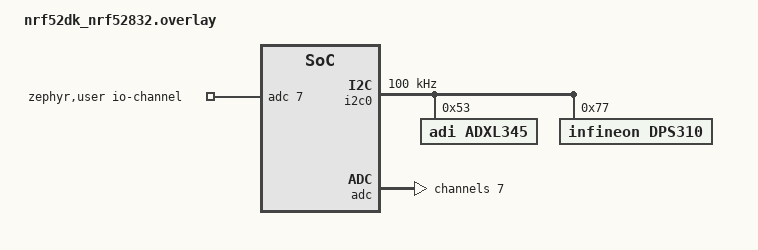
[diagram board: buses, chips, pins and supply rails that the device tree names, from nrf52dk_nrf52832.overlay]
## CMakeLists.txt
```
cmake_minimum_required(VERSION 3.20.0)
find_package(Zephyr REQUIRED HINTS $ENV{ZEPHYR_BASE})

project(uchaos)

# set(fogml_sources 
#     ../src/fogml_sdk/anomaly/fogml_anomaly.c
#     ../src/fogml_sdk/anomaly_rt/fogml_lof.c
#     ../src/fogml_sdk/anomaly_rt/fogml_reservoir.c
#     ../src/fogml_sdk/ports/fogml_ports_zephyr.c
#     ../src/fogml_sdk/dsp/fogml_dsp.c
#     ../src/fogml_sdk/scaler/fogml_scaler.c
# )

# set (fogml_generated
#     ../src/fogml_generated/kmeans_anomaly_model.c
#     ../src/fogml_generated/min_max_scaler_model.c
#     ../src/fogml_generated/random_forrest_model.c
# )

set (uchaos
    src/uchaos/uchaos_battery/uchaos_battery.c
    src/uchaos/uchaos_console/uchaos_console.c
    src/uchaos/uchaos_sensor/uchaos_sensor.c
    src/uchaos/uchaos_cpu/uchaos_cpu.c
)

FILE(GLOB app_sources 
    src/*.c
    src/inc/*.h
)

target_sources(app PRIVATE ${app_sources} ${uchaos})
```

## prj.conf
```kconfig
CONFIG_GPIO=y
CONFIG_SERIAL=y
CONFIG_I2C=y

CONFIG_CBPRINTF_FP_SUPPORT=y

CONFIG_ENTROPY_GENERATOR=y
CONFIG_TEST_RANDOM_GENERATOR=y

CONFIG_UART_INTERRUPT_DRIVEN=y
CONFIG_HEAP_MEM_POOL_SIZE=1024

CONFIG_THREAD_LOCAL_STORAGE=y

#Sensor
CONFIG_SENSOR=y

#ADC
CONFIG_ADC=y
```

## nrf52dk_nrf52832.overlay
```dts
// To get started, press Ctrl+Space to bring up the completion menu and view the available nodes.

// You can also use the buttons in the sidebar to perform actions on nodes.
// Actions currently available include:

// * Enabling / disabling the node
// * Adding the bus to a bus
// * Removing the node
// * Connecting ADC channels

// For more help, browse the DeviceTree documentation at https://docs.zephyrproject.org/latest/guides/dts/index.html
// You can also visit the nRF DeviceTree extension documentation at https://nrfconnect.github.io/vscode-nrf-connect/devicetree/nrfdevicetree.html

/ {
	zephyr,user {
		io-channels = <&adc 7>;
	};
};

&i2c0 {
	compatible = "nordic,nrf-twi";
	status = "okay";
	clock-frequency = <I2C_BITRATE_STANDARD>;
	adxl345@53 {
		compatible = "adi,adxl345";
		reg = <0x53>;
	};
	dps310@77 {
		status = "okay";
		compatible = "infineon,dps310";
		reg = <0x77>;
	};
};

&adc {
	#address-cells = <1>;
	#size-cells = <0>;
	status = "okay";

	channel@7 {
		reg = <7>;
		zephyr,gain = "ADC_GAIN_1_6";
		zephyr,reference = "ADC_REF_INTERNAL";
		zephyr,acquisition-time = <ADC_ACQ_TIME_DEFAULT>;
		zephyr,input-positive = <NRF_SAADC_VDD>;
		zephyr,resolution = <14>;
		zephyr,oversampling = <8>;
	};
};
```

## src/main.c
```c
#include <zephyr/kernel.h>
#include <zephyr/device.h>
#include <zephyr/devicetree.h>
#include <zephyr/drivers/gpio.h>
#include <zephyr/drivers/uart.h>
#include <zephyr/drivers/i2c.h>
#include <zephyr/drivers/sensor.h>
#include <zephyr/drivers/adc.h>
#include <zephyr/sys/printk.h>
#include <zephyr/random/rand32.h>

#include "uchaos/uchaos.h"

#include <stdlib.h>
#include <stdio.h>

// #define CPU_LOAD
// #define ADC_VBATT
// #define ADXL345
// #define DPS310

#ifdef CPU_LOAD
#define SLEEP_MS	5000
#endif
#ifdef ADC_VBATT
#define SLEEP_MS	10000
#endif
#ifdef ADXL345
#define SLEEP_MS	2000
#endif
#ifdef DPS310
#define SLEEP_MS	2000
#endif


K_THREAD_STACK_DEFINE(_threadStack, 1024);
static struct k_thread _thread;
static k_tid_t _threadID;

static void _threadFunction(void* arg1, void* arg2, void* arg3)
{
    ARG_UNUSED(arg1);
    ARG_UNUSED(arg2);
    ARG_UNUSED(arg3);

    uint32_t counter = 1;
    // struct sensor_value sensorValue[3] = {0};
    // double measurement[3] = {0};
    struct sensor_value sensorValue = {0};
    double measurement = 0;
	// const struct device *const dev = DEVICE_DT_GET_ONE(adi_adxl345);
    const struct device *const dev = DEVICE_DT_GET_ONE(infineon_dps310);
    // if (!uChaosSensor_Create("adxl345", dev))
    if (!uChaosSensor_Create("dps310", dev))
    {
        return;
    }
    int64_t lasTime = 0;
    int64_t nowTime = 0;
    uint64_t totalTime = 0;

	while (1)
    {
        if (sensor_sample_fetch(dev) < 0)
        {
            printk("Sample fetch error!\r\n");
        }
        // if (sensor_channel_get(dev, SENSOR_CHAN_ACCEL_XYZ, &sensorValue[0]) < 0)
        if (sensor_channel_get(dev, SENSOR_CHAN_AMBIENT_TEMP, &sensorValue) < 0)
        {
            printk("Channel get error!\r\n");
        }
        // measurement[0] = sensor_value_to_double(&sensorValue[0]);
        // measurement[1] = sensor_value_to_double(&sensorValue[1]);
        // measurement[2] = sensor_value_to_double(&sensorValue[2]);
        measurement = sensor_value_to_double(&sensorValue);
        nowTime = k_uptime_get();
        totalTime += (nowTime-lasTime);
        // printk("%d;%f;%f;%f;%lld;%lld\r\n", counter, measurement[0], measurement[1], measurement[2], (nowTime-lasTime), totalTime);
        printk("%d;%f;%lld;%lld\r\n", counter, measurement, (nowTime-lasTime), totalTime);
        lasTime = nowTime;
        counter++;
        k_sleep(K_MSEC(2000));
	}
}

static void thread(void* arg1, void* arg2, void* arg3)
{
    _threadFunction(arg1, arg2, arg3);
}


int main(void)
{
	printk("Demo Application start\n\n");

    uChaosConsole_Init();

#ifdef CPU_LOAD   
    uChaosCPU_Init();
    _threadID = k_thread_create(&_thread, _threadStack,
                                K_THREAD_STACK_SIZEOF(_threadStack),
                                thread,
                                NULL, NULL, NULL,
                                12, 0, K_NO_WAIT);
#endif
#ifdef ADC_VBATT
    uChaosBattery_Init();
#endif

#ifdef ADC_VBATT
    uint32_t counter = 1;
    int32_t val_mv;
    int error;
	uint16_t buf;
	struct adc_sequence sequence = {
		.buffer = &buf,
		.buffer_size = sizeof(buf),
	};
    static const struct adc_dt_spec adc_channel = ADC_DT_SPEC_GET_BY_IDX(DT_PATH(zephyr_user), 0);

    if (!adc_is_ready_dt(&adc_channel)) 
    {
        printk("ADC controller device %s not ready\r\n", adc_channel.dev->name);
        return 0;
    }
    error = adc_channel_setup_dt(&adc_channel);
    if (error < 0)
    {
        printk("Could not setup channel - error %d\r\n", error);
        return 0;
    }
#endif

#ifdef ADXL345
    uint32_t counter = 1;
    struct sensor_value sensorValue[3] = {0};
    double measurement[3] = {0};
	const struct device *const adxl345 = DEVICE_DT_GET_ONE(adi_adxl345);
    if (!uChaosSensor_Create("adxl345", adxl345))
    {
        return 0;
    }
#endif

#ifdef DPS310
    uint32_t counter = 1;
    struct sensor_value sensorValue = {0};
    double measurement = 0;
	const struct device *const dps310 = DEVICE_DT_GET_ONE(infineon_dps310);
#endif

	while (1)
    {
#ifdef ADC_VBATT
        adc_sequence_init_dt(&adc_channel, &sequence);
        error = adc_read(adc_channel.dev, &sequence);
        if (error < 0) {
            printk("Could not read - error %d\r\n", error);
            continue;
        }
        val_mv = (int32_t)buf;
        error = adc_raw_to_millivolts_dt(&adc_channel, &val_mv);
        printk("%d;%"PRId32"\r\n", counter, val_mv);
        counter++;
        k_sleep(K_MSEC(SLEEP_MS));
#endif
#ifdef ADXL345
        if (sensor_sample_fetch(adxl345) < 0)
        {
            printk("Sample fetch error!\r\n");
        }
        if (sensor_channel_get(adxl345, SENSOR_CHAN_ACCEL_XYZ, &sensorValue[0]) < 0)
        {
            printk("Channel get error!\r\n");
        }
        measurement[0] = sensor_value_to_double(&sensorValue[0]);
        measurement[1] = sensor_value_to_double(&sensorValue[1]);
        measurement[2] = sensor_value_to_double(&sensorValue[2]);
        printk("%d;%f;%f;%f\r\n", counter, measurement[0], measurement[1], measurement[2]);
        counter++;
        k_sleep(K_MSEC(SLEEP_MS));
#endif
#ifdef DPS310
        if (sensor_sample_fetch(dps310) < 0)
        {
            printk("Sample fetch error!\r\n");
        }
        if (sensor_channel_get(dps310, SENSOR_CHAN_AMBIENT_TEMP, &sensorValue) < 0)
        {
            printk("Channel get error!\r\n");
        }
        measurement = sensor_value_to_double(&sensorValue);
        printk("%d;%f\r\n", counter, measurement);
        counter++;
        k_sleep(K_MSEC(SLEEP_MS));
#endif
#ifdef CPU_LOAD
        k_sleep(K_MSEC(SLEEP_MS));
#endif
	}

	return 0;
}
```
